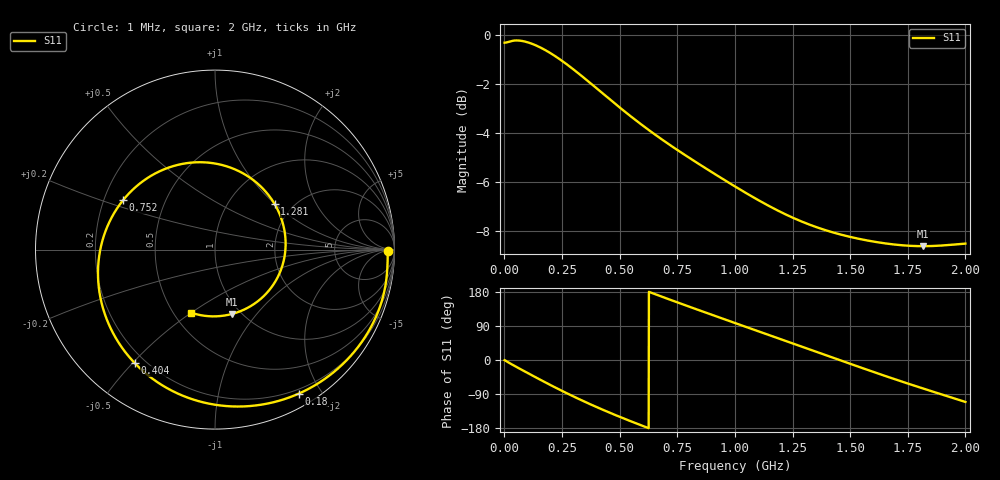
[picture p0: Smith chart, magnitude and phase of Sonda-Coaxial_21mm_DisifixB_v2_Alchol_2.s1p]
! TOUCHSTONE file generated by CST MICROWAVE STUDIO
! Date and time: Sat Aug  1 23:57:45 2026
! Project name: Sonda-Coaxial_21mm_DisifixB_v2_Alchol.cst
! Parameters = {h_recipiente=20; l_conector=50; r_arandela=35; r_ext=10.5; r_int=3; r_recipiente=100; z_recipiente=-10}
! Header version: 2018
! Port assignment regex: !\s*Touchstone port\s*([0-9]+)\s*=\s*(CST MWS port|CST DS port)\s*([0-9]+|Zmin|Zmax)\s*\(\"(.*)\"\)(\s*mode\s*([0-9]+))?.*
! Touchstone port assignment:
! Touchstone port 1 = CST MWS port 1 ("")
# GHz S RI R 50
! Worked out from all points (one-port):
!   2000 points, 1 MHz to 2 GHz, reference 50 ohm
!   lowest |S11| = -8.6 dB at 1.817 GHz (marker M1), VSWR 2.18, Z = 45.4 - j37.8 ohm
!   |S11| at or under -10 dB: nowhere
!   S11 on the Smith chart (normalised r, x): 1 MHz: 51, -9; 180 MHz: 0.15, -1.73; 404 MHz: 0.16, -0.51; 752 MHz: 0.28, +0.23; 1.281 GHz: 1.62, +0.99; 2 GHz: 0.61, -0.50
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0.001  0.9626 -0.00628
0.041  0.9408 -0.2438
0.081  0.8578 -0.4518
0.132  0.6801 -0.6669
0.18  0.4666 -0.8024
0.215  0.2987 -0.8566
0.251  0.1263 -0.8743
0.32  -0.1743 -0.8162
0.404  -0.4469 -0.6326
0.452  -0.5493 -0.4983
0.501  -0.6157 -0.3536
0.557  -0.6495 -0.1895
0.616  -0.644 -0.0271
0.68  -0.5993 0.1296
0.751  -0.5135 0.2737
0.752  -0.5121 0.2755
0.876  -0.3023 0.4393
1.001  -0.0637 0.4864
1.117  0.1372 0.4349
1.251  0.3065 0.2928
1.281  0.3327 0.2529
1.391  0.389 0.0935
1.501  0.3812 -0.0685
1.632  0.2972 -0.2319
1.751  0.173 -0.329
1.817  0.094 -0.3588
1.908  -0.0192 -0.3719
2  -0.1327 -0.3511
